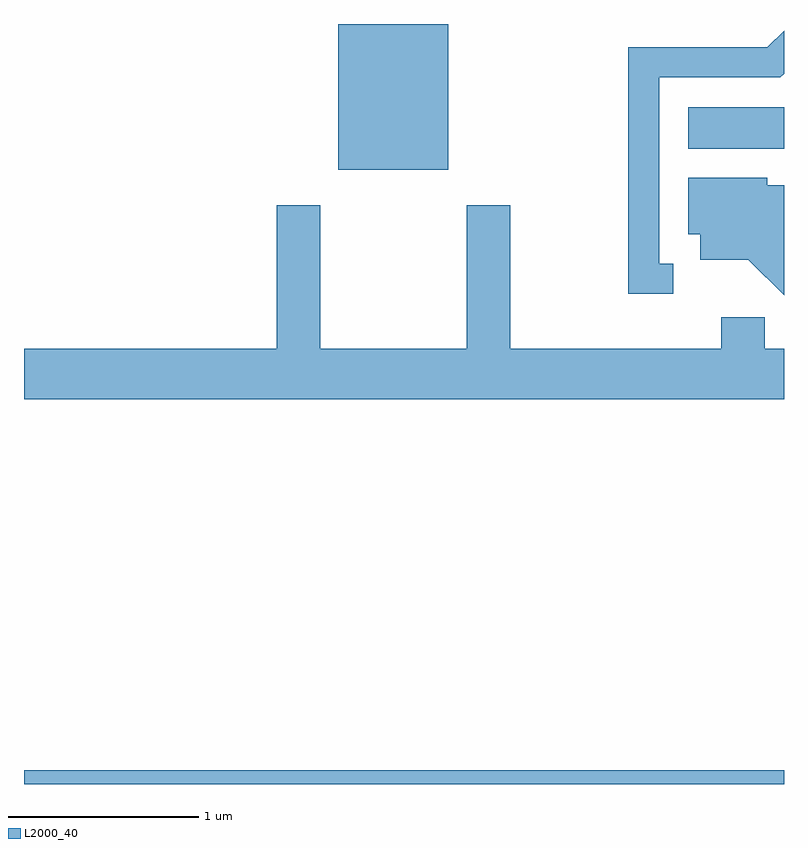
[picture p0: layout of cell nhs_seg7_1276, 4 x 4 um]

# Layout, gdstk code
import gdstk
lib = gdstk.Library(unit=1e-6, precision=1e-09)
def R(c, l, rs):  # rectangles x0, y0, x1, y1
    for r in rs: c.add(gdstk.rectangle(r[:2], r[2:], *l))
def P(c, l, *ps):  # polygons
    for p in ps: c.add(gdstk.Polygon(p, *l))
L2000_40 = (2000, 40)

nhs_seg7_1276 = lib.new_cell('nhs_seg7_1276')
R(nhs_seg7_1276, L2000_40, [(223.611,1752.252,227.611,1752.324), (225.266,1755.486,225.844,1756.252), (227.106,1755.596,227.611,1755.814)])
P(nhs_seg7_1276, L2000_40, [(227.028,1754.989),(226.954,1754.989),(226.954,1755.971),(227.592,1755.971),(227.611,1755.99),(227.611,1756.216),(227.524,1756.129),(226.791,1756.129),(226.791,1754.831),(227.028,1754.831)],
  [(227.611,1755.404),(227.524,1755.404),(227.524,1755.444),(227.106,1755.444),(227.106,1755.146),(227.171,1755.146),(227.171,1755.011),(227.424,1755.011),(227.611,1754.824)],
  [(227.611,1754.544),(227.509,1754.544),(227.509,1754.709),(227.281,1754.709),(227.281,1754.544),(226.169,1754.544),(226.169,1755.299),(225.941,1755.299),(225.941,1754.544),(225.169,1754.544),(225.169,1755.299),(224.941,1755.299),(224.941,1754.544),(223.611,1754.544),(223.611,1754.276),(227.611,1754.276)])

lib.write_gds('nhs_seg7_1276.gds')
